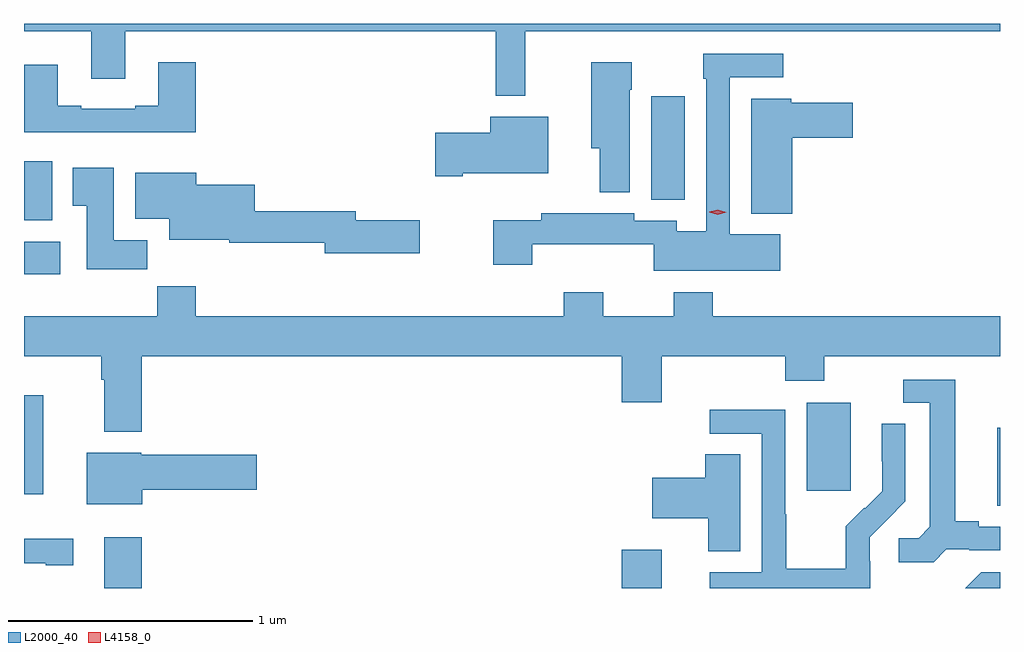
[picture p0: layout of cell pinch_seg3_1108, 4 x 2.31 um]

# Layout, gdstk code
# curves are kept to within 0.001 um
import gdstk
lib = gdstk.Library(unit=1e-6, precision=1e-09)
def R(c, l, rs):  # rectangles x0, y0, x1, y1
    for r in rs: c.add(gdstk.rectangle(r[:2], r[2:], *l))
def P(c, l, *ps):  # polygons
    for p in ps: c.add(gdstk.Polygon(p, *l))
L2000_40 = (2000, 40)
L4158_0 = (4158, 0)

pinch_seg3_1108 = lib.new_cell('pinch_seg3_1108')
R(pinch_seg3_1108, L2000_40, [(258.791,746.585,258.944,746.794), (260.912,746.585,261.076,746.743), (262.451,746.923,262.462,747.243), (258.462,746.97,258.541,747.376), (261.671,746.985,261.85,747.346), (258.462,747.872,258.61,748.006), (258.462,748.094,258.577,748.336), (261.032,748.177,261.169,748.603)])
P(pinch_seg3_1108, L2000_40, [(260.516,748.868),(262.462,748.868),(262.462,748.9),(258.462,748.9),(258.462,748.868),(258.737,748.868),(258.737,748.674),(258.877,748.674),(258.877,748.868),(260.395,748.868),(260.395,748.605),(260.516,748.605)],
  [(261.562,748.036),(261.354,748.036),(261.354,748.68),(261.574,748.68),(261.574,748.776),(261.246,748.776),(261.246,748.673),(261.258,748.673),(261.258,748.048),(261.138,748.048),(261.138,748.092),(260.962,748.092),(260.962,748.123),(260.582,748.123),(260.582,748.094),(260.386,748.094),(260.386,747.912),(260.546,747.912),(260.546,747.995),(261.042,747.995),(261.042,747.887),(261.562,747.887)],
  [(260.944,748.628),(260.952,748.628),(260.952,748.741),(260.786,748.741),(260.786,748.388),(260.822,748.388),(260.822,748.208),(260.944,748.208)],
  [(259.166,748.741),(259.013,748.741),(259.013,748.564),(258.917,748.564),(258.917,748.551),(258.697,748.551),(258.697,748.564),(258.601,748.564),(258.601,748.732),(258.462,748.732),(258.462,748.454),(259.166,748.454)],
  [(261.61,748.433),(261.859,748.433),(261.859,748.575),(261.606,748.575),(261.606,748.591),(261.443,748.591),(261.443,748.121),(261.61,748.121)],
  [(260.26,748.286),(260.611,748.286),(260.611,748.519),(260.372,748.519),(260.372,748.452),(260.148,748.452),(260.148,748.274),(260.26,748.274)],
  [(258.968,748.012),(258.829,748.012),(258.829,748.309),(258.662,748.309),(258.662,748.153),(258.719,748.153),(258.719,747.894),(258.968,747.894)],
  [(260.083,748.094),(259.822,748.094),(259.822,748.13),(259.408,748.13),(259.408,748.24),(259.168,748.24),(259.168,748.288),(258.917,748.288),(258.917,748.1),(259.058,748.1),(259.058,748.013),(259.304,748.013),(259.304,748.002),(259.694,748.002),(259.694,747.959),(260.083,747.959)],
  [(258.944,747.536),(260.912,747.536),(260.912,747.348),(261.076,747.348),(261.076,747.536),(261.581,747.536),(261.581,747.437),(261.741,747.437),(261.741,747.536),(262.462,747.536),(262.462,747.7),(261.284,747.7),(261.284,747.799),(261.124,747.799),(261.124,747.7),(260.835,747.7),(260.835,747.799),(260.675,747.799),(260.675,747.7),(259.166,747.7),(259.166,747.824),(259.009,747.824),(259.009,747.7),(258.462,747.7),(258.462,747.536),(258.779,747.536),(258.779,747.44),(258.791,747.44),(258.791,747.227),(258.944,747.227)],
  [(262.242,746.745),(262.336,746.745),(262.336,746.742),(262.462,746.742),(262.462,746.838),(262.375,746.838),(262.375,746.861),(262.279,746.861),(262.279,747.441),(262.065,747.441),(262.065,747.345),(262.175,747.345),(262.175,746.837),(262.128,746.79),(262.047,746.79),(262.047,746.693),(262.19,746.693)],
  [(261.93,746.697),(261.928,746.697),(261.928,746.794),(262.074,746.942),(262.074,747.26),(261.978,747.26),(261.978,747.106),(261.98,747.106),(261.98,746.984),(261.909,746.913),(261.906,746.916),(261.829,746.839),(261.829,746.665),(261.585,746.665),(261.585,746.888),(261.582,746.888),(261.582,747.318),(261.273,747.318),(261.273,747.219),(261.486,747.219),(261.486,746.652),(261.273,746.652),(261.273,746.585),(261.93,746.585)],
  [(258.946,746.99),(259.416,746.99),(259.416,747.132),(258.942,747.132),(258.942,747.142),(258.719,747.142),(258.719,746.93),(258.946,746.93)],
  [(261.397,747.134),(261.254,747.134),(261.254,747.039),(261.036,747.039),(261.036,746.873),(261.266,746.873),(261.266,746.737),(261.397,746.737)],
  [(258.664,746.789),(258.462,746.789),(258.462,746.689),(258.551,746.689),(258.551,746.679),(258.664,746.679)],
  [(262.462,746.652),(262.386,746.652),(262.319,746.585),(262.462,746.585)])
P(pinch_seg3_1108, L4158_0, [(261.305,748.117),(261.27,748.127),(261.27,748.128),(261.27,748.128),(261.305,748.137),(261.34,748.127),(261.34,748.127),(261.34,748.127)])

lib.write_gds('pinch_seg3_1108.gds')
